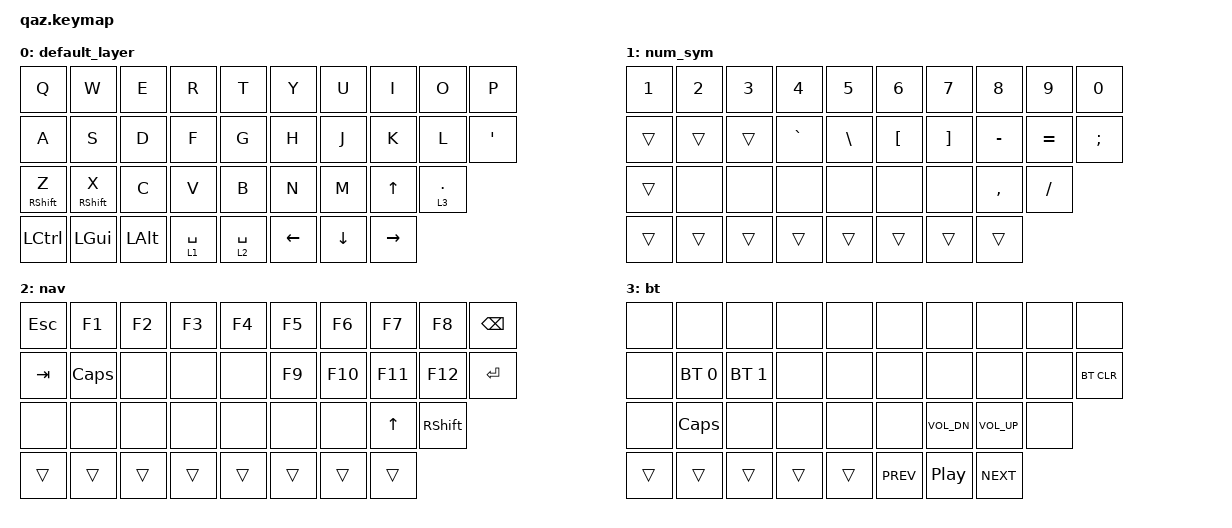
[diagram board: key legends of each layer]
/*
 * Copyright (c) 2020 The ZMK Contributors
 *
 * SPDX-License-Identifier: MIT
 */

#include <behaviors.dtsi>
#include <dt-bindings/zmk/bt.h>
#include <dt-bindings/zmk/keys.h>

#define DEFAULT 0
#define NUM_SYM 1
#define NAV     2
#define BT      3

/ {
    combos {
        compatible = "zmk,combos";

        tab {
            bindings = <&kp TAB>;
            key-positions = <10 11>;
        };

        esc {
            bindings = <&kp ESC>;
            key-positions = <0 1>;
        };

        enter {
            bindings = <&kp RETURN>;
            key-positions = <18 19>;
        };

        backspace {
            bindings = <&kp BACKSPACE>;
            key-positions = <8 9>;
        };

        Rshift {
            bindings = <&kp RIGHT_SHIFT>;
            key-positions = <27 28>;
        };

        off-button {
            bindings = <&soft_off>;
            key-positions = <10 11 12 13 19 18 17 16>;
        };
    };

    keymap {
        compatible = "zmk,keymap";

        default_layer {
            //   |  Q  |  W  |  E  |  R  |  T  |  Y  |  U  |  I  |  O  |   P   |
            //   |A/CAPS |  S  |  D  |  F  |  G  |  H  |  J  |  K  |  L  |  '  |
            //   | Z/LSHIFT|X/RS |  C  |  V  |  B  |  N  |  M  |  ,  |  ./L3   |
            //   |CTRL | WIN | ALT |  SPACE/L1   | SPACE/L2  |RIGHT|DOWN |LEFT |

            bindings = <
&kp Q         &kp W         &kp E     &kp R        &kp T        &kp Y     &kp U     &kp I      &kp O      &kp P
&kp A         &kp S         &kp D     &kp F        &kp G        &kp H     &kp J     &kp K      &kp L      &kp APOS
&mt RSHIFT Z  &mt RSHIFT X  &kp C     &kp V        &kp B        &kp N     &kp M     &kp UP     &lt 3 DOT
&kp LCTRL     &kp LGUI      &kp LALT  &lt 1 SPACE  &lt 2 SPACE  &kp LEFT  &kp DOWN  &kp RIGHT
            >;
        };

        num_sym {
            //   |  1  |  2  |  3  |  4  |  5  |  6  |  7  |  8  |  9  |   0   |
            //   |       |     |     |  `  |  \  |  {  |  }  |  -  |  =  |  '  |
            //   |         |     |     |     |     |     |     |  UP  | RSHIFT |
            //   |CTRL | WIN | ALT |  SPACE/L1   | SPACE/L2  |RIGHT|DOWN |LEFT |

            bindings = <
&kp N1  &kp N2  &kp N3  &kp N4     &kp N5    &kp N6    &kp N7    &kp N8     &kp N9     &kp N0
&trans  &trans  &trans  &kp GRAVE  &kp BSLH  &kp LBKT  &kp RBKT  &kp MINUS  &kp EQUAL  &kp SEMI
&trans  &none   &none   &none      &none     &none     &none     &kp COMMA  &kp FSLH
&trans  &trans  &trans  &trans     &trans    &trans    &trans    &trans
            >;
        };

        nav {
            //   | ESC | F1  | F2  | F3  | F4  | F5  | F6  | F7  | F8  | BKSP  |
            //   |  TAB  |CAPS |     |     |     |  F9  | F10 | F11 |F12 |ENTER|
            //   |  SHIFT  |     |     |     |     |     |     |  UP | RSHIFT  |
            //   |CTRL | WIN | ALT |  SPACE/L1   | SPACE/L2  |LEFT|DOWN |RIGHT |

            bindings = <
&kp ESC  &kp F1    &kp F2  &kp F3  &kp F4  &kp F5  &kp F6   &kp F7   &kp F8      &kp BSPC
&kp TAB  &kp CAPS  &none   &none   &none   &kp F9  &kp F10  &kp F11  &kp F12     &kp RET
&none    &none     &none   &none   &none   &none   &none    &kp UP   &kp RSHIFT
&trans   &trans    &trans  &trans  &trans  &trans  &trans   &trans
            >;
        };

        bt {
            //   |     |     |     |     |     |     |     |     |      |      |
            //   |       |     |     |     |     | F9  | F10 | F11 | F12 |BTCLR|
            //   |               |     |     |     |     |     |     |         |
            //   |CTRL | WIN | ALT |  SPACE/L1   | SPACE/L2 |     |     |      |

            bindings = <
&none   &none         &none         &none   &none   &none       &none         &none         &none  &none
&none   &bt BT_SEL 0  &bt BT_SEL 1  &none   &none   &none       &none         &none         &none  &bt BT_CLR
&none   &kp CAPS      &none         &none   &none   &none       &kp C_VOL_DN  &kp C_VOL_UP  &none
&trans  &trans        &trans        &trans  &trans  &kp C_PREV  &kp C_PP      &kp C_NEXT
            >;
        };
    };
};
